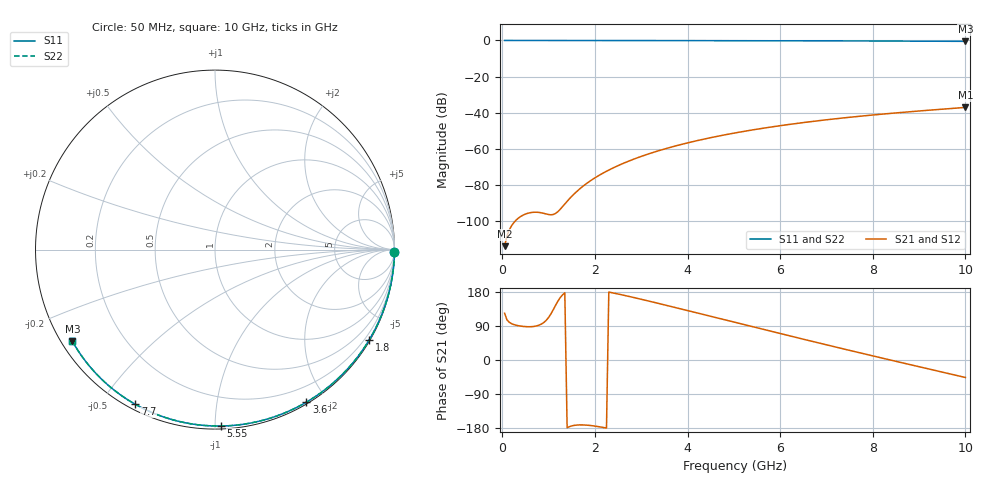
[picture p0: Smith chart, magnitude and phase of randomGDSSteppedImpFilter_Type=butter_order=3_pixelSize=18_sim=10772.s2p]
! freq	dB(S11)	phase(S11)	dB(S12)	phase(S12)
!  dB(S21)	phase(S21)	dB(S22)	phase(S22)
!S-par simulation data
#  GHz  S  DB  R 50
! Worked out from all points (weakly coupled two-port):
!   200 points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, 50 MHz to 10 GHz, reference 50 ohm
!   highest |S21| = -37.15 dB at 10 GHz (marker M1); lowest = -114.1 dB at 50 MHz (marker M2)
!   lowest |S11| = -0.5 dB at 10 GHz (marker M3), VSWR 35.11, Z = 1.55 - j14.7 ohm
!   |S11| at or under -10 dB: nowhere
!   |S22| runs from -0.5 to 0.0 dB; largest |S21 - S12| = 0
!   S11 on the Smith chart (normalised r, x): 50 MHz: open; 1.8 GHz: 0.03, -3.69; 3.6 GHz: 0.02, -1.76; 5.55 GHz: 0.02, -1.04; 7.7 GHz: 0.02, -0.61; 10 GHz: 0.03, -0.29
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0.05  -0.00 -0.9  -114.11 123.5  -114.11 123.5  -0.00 -0.9
0.45  -0.01 -7.7  -96.87 88.5  -96.87 88.5  -0.01 -7.7
0.9  -0.02 -15.3  -95.93 99.3  -95.93 99.3  -0.02 -15.3
1.3  -0.03 -22.0  -92.20 171.8  -92.20 171.8  -0.03 -22.0
1.75  -0.04 -29.5  -80.69 -171.4  -80.69 -171.4  -0.04 -29.5
1.8  -0.04 -30.3  -79.71 -171.7  -79.71 -171.7  -0.04 -30.3
1.95  -0.04 -32.8  -77.03 -173.6  -77.03 -173.6  -0.04 -32.8
2.1  -0.04 -35.2  -74.67 -176.3  -74.67 -176.3  -0.04 -35.2
2.3  -0.05 -38.5  -71.88 179.2  -71.88 179.2  -0.05 -38.5
2.5  -0.05 -41.7  -69.43 174.2  -69.43 174.2  -0.05 -41.7
2.9  -0.06 -48.1  -65.24 163.2  -65.24 163.2  -0.06 -48.1
3.4  -0.07 -56.0  -60.97 148.5  -60.97 148.5  -0.07 -56.0
3.6  -0.08 -59.1  -59.49 142.5  -59.49 142.5  -0.08 -59.1
4.3  -0.10 -69.7  -55.03 121.4  -55.03 121.4  -0.10 -69.7
5.05  -0.12 -80.8  -51.18 98.6  -51.18 98.6  -0.12 -80.8
5.55  -0.14 -88.0  -49.01 83.4  -49.01 83.4  -0.14 -88.0
6.1  -0.17 -95.7  -46.91 66.8  -46.91 66.8  -0.17 -95.7
6.7  -0.20 -103.9  -44.91 48.9  -44.91 48.9  -0.20 -103.9
7.7  -0.27 -117.3  -42.09 19.5  -42.09 19.5  -0.27 -117.3
8.35  -0.32 -125.8  -40.52 0.8  -40.52 0.8  -0.32 -125.8
9.2  -0.40 -136.8  -38.71 -23.4  -38.71 -23.4  -0.40 -136.8
10  -0.49 -147.2  -37.15 -46.1  -37.15 -46.1  -0.49 -147.2
